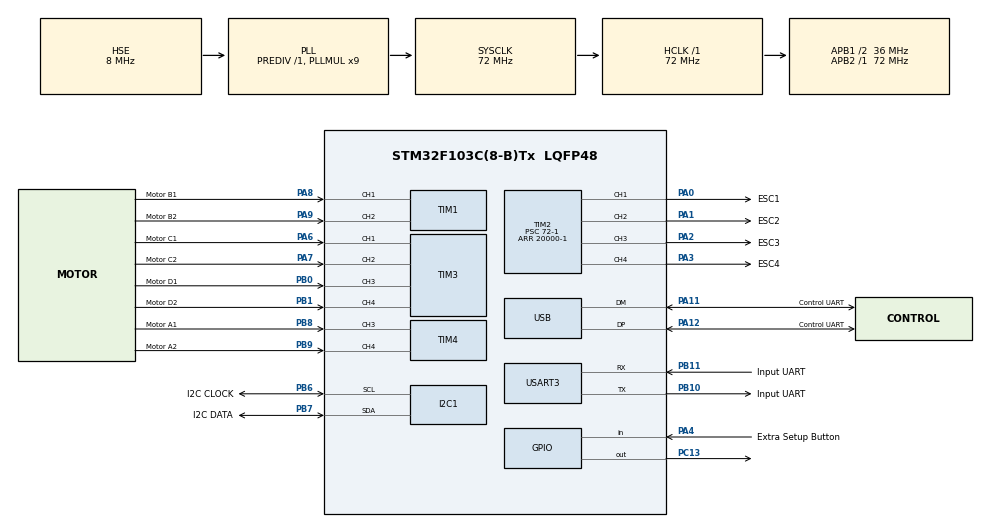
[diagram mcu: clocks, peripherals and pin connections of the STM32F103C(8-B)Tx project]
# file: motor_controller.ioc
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Mcu.Family=STM32F1
Mcu.Name=STM32F103C(8-B)Tx
Mcu.Package=LQFP48
NVIC.PriorityGroup=NVIC_PRIORITYGROUP_4
NVIC.USB_LP_CAN1_RX0_IRQn=true\:0\:0\:false\:false\:true\:false\:true\:true
PA0-WKUP.GPIO_Label=ESC1
PA0-WKUP.Signal=S_TIM2_CH1_ETR
PA1.GPIO_Label=ESC2
PA1.Signal=S_TIM2_CH2
PA11.GPIO_Label=Control UART
PA11.Mode=Device
PA11.Signal=USB_DM
PA12.GPIO_Label=Control UART
PA12.Mode=Device
PA12.Signal=USB_DP
PA13.Mode=Serial_Wire
PA13.Signal=SYS_JTMS-SWDIO
PA14.Mode=Serial_Wire
PA14.Signal=SYS_JTCK-SWCLK
PA2.GPIO_Label=ESC3
PA2.Signal=S_TIM2_CH3
PA3.GPIO_Label=ESC4
PA3.Signal=S_TIM2_CH4
PA4.GPIO_Label=Extra Setup Button
PA4.Signal=GPIO_Input
PA6.GPIO_Label=Motor C1
PA6.Signal=S_TIM3_CH1
PA7.GPIO_Label=Motor C2
PA7.Signal=S_TIM3_CH2
PA8.GPIO_Label=Motor B1
PA8.Signal=S_TIM1_CH1
PA9.GPIO_Label=Motor B2
PA9.Signal=S_TIM1_CH2
PB0.GPIO_Label=Motor D1
PB0.Signal=S_TIM3_CH3
PB1.GPIO_Label=Motor D2
PB1.Signal=S_TIM3_CH4
PB10.GPIO_Label=Input UART
PB10.Mode=Asynchronous
PB10.Signal=USART3_TX
PB11.GPIO_Label=Input UART
PB11.Mode=Asynchronous
PB11.Signal=USART3_RX
PB6.GPIO_Label=I2C CLOCK
PB6.Mode=I2C
PB6.Signal=I2C1_SCL
PB7.GPIO_Label=I2C DATA
PB7.Mode=I2C
PB7.Signal=I2C1_SDA
PB8.GPIO_Label=Motor A1
PB8.Signal=S_TIM4_CH3
PB9.GPIO_Label=Motor A2
PB9.Signal=S_TIM4_CH4
PC13-TAMPER-RTC.Signal=GPIO_Output
PD0-OSC_IN.Mode=HSE-External-Oscillator
PD0-OSC_IN.Signal=RCC_OSC_IN
PD1-OSC_OUT.Mode=HSE-External-Oscillator
PD1-OSC_OUT.Signal=RCC_OSC_OUT
ProjectManager.HeapSize=0x200
ProjectManager.StackSize=0x400
ProjectManager.TargetToolchain=STM32CubeIDE
RCC.AHBFreq_Value=72000000
RCC.APB1CLKDivider=RCC_HCLK_DIV2
RCC.APB1Freq_Value=36000000
RCC.APB1TimFreq_Value=72000000
RCC.APB2Freq_Value=72000000
RCC.APB2TimFreq_Value=72000000
RCC.HCLKFreq_Value=72000000
RCC.PLLMUL=RCC_PLL_MUL9
RCC.SYSCLKFreq_VALUE=72000000
RCC.SYSCLKSource=RCC_SYSCLKSOURCE_PLLCLK
RCC.USBFreq_Value=48000000
RCC.USBPrescaler=RCC_USBCLKSOURCE_PLL_DIV1_5
SH.S_TIM1_CH1.0=TIM1_CH1,Input_Capture1_from_TI1
SH.S_TIM1_CH2.0=TIM1_CH2,Input_Capture2_from_TI2
SH.S_TIM2_CH1_ETR.0=TIM2_CH1,PWM Generation1 CH1
SH.S_TIM2_CH2.0=TIM2_CH2,PWM Generation2 CH2
SH.S_TIM2_CH3.0=TIM2_CH3,PWM Generation3 CH3
SH.S_TIM2_CH4.0=TIM2_CH4,PWM Generation4 CH4
SH.S_TIM3_CH1.0=TIM3_CH1,Input_Capture1_from_TI1
SH.S_TIM3_CH2.0=TIM3_CH2,Input_Capture2_from_TI2
SH.S_TIM3_CH3.0=TIM3_CH3,Input_Capture3_from_TI3
SH.S_TIM3_CH4.0=TIM3_CH4,Input_Capture4_from_TI4
SH.S_TIM4_CH3.0=TIM4_CH3,Input_Capture3_from_TI3
SH.S_TIM4_CH4.0=TIM4_CH4,Input_Capture4_from_TI4
TIM1.Channel-Input_Capture1_from_TI1=TIM_CHANNEL_1
TIM1.Channel-Input_Capture2_from_TI2=TIM_CHANNEL_2
TIM2.AutoReloadPreload=TIM_AUTORELOAD_PRELOAD_DISABLE
TIM2.Channel-PWM\ Generation1\ CH1=TIM_CHANNEL_1
TIM2.Channel-PWM\ Generation2\ CH2=TIM_CHANNEL_2
TIM2.Channel-PWM\ Generation3\ CH3=TIM_CHANNEL_3
TIM2.Channel-PWM\ Generation4\ CH4=TIM_CHANNEL_4
TIM2.Period=20000-1
TIM2.Prescaler=72-1
TIM3.Channel-Input_Capture1_from_TI1=TIM_CHANNEL_1
TIM3.Channel-Input_Capture2_from_TI2=TIM_CHANNEL_2
TIM3.Channel-Input_Capture3_from_TI3=TIM_CHANNEL_3
TIM3.Channel-Input_Capture4_from_TI4=TIM_CHANNEL_4
TIM4.Channel-Input_Capture3_from_TI3=TIM_CHANNEL_3
TIM4.Channel-Input_Capture4_from_TI4=TIM_CHANNEL_4
USART3.VirtualMode=VM_ASYNC
USB_DEVICE.CLASS_NAME_FS=CDC
USB_DEVICE.PRODUCT_STRING_CDC_FS=Motor Controller
USB_DEVICE.VirtualMode=Cdc
USB_DEVICE.VirtualModeFS=Cdc_FS
VP_USB_DEVICE_VS_USB_DEVICE_CDC_FS.Mode=CDC_FS
board=custom

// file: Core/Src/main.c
/* USER CODE BEGIN Header */
/**
  ******************************************************************************
  * @file           : main.c
  * @brief          : Main program body
  ******************************************************************************
  * @attention
  *
  * Copyright (c) 2025 STMicroelectronics.
  * All rights reserved.
  *
  * This software is licensed under terms that can be found in the LICENSE file
  * in the root directory of this software component.
  * If no LICENSE file comes with this software, it is provided AS-IS.
  *
  ******************************************************************************
  */
/* USER CODE END Header */
#include "main.h"
#include "usb_device.h"

I2C_HandleTypeDef hi2c1;

TIM_HandleTypeDef htim1;
TIM_HandleTypeDef htim2;
TIM_HandleTypeDef htim3;
TIM_HandleTypeDef htim4;

UART_HandleTypeDef huart3;

void SystemClock_Config(void);
static void MX_GPIO_Init(void);
static void MX_I2C1_Init(void);
static void MX_TIM2_Init(void);
static void MX_TIM1_Init(void);
static void MX_TIM3_Init(void);
static void MX_TIM4_Init(void);
static void MX_USART3_UART_Init(void);

/* USER CODE BEGIN 0 */

TIM_HandleTypeDef htim2;
uint8_t buffer[64];

// PCA9685 I2C address (7-bit address 0x40 shifted left for HAL)
#define PCA9685_ADDRESS (0x40 << 1)  // 0x80
// Datasheet link --> https://cdn-shop.adafruit.com/datasheets/PCA9685.pdf
#define PCA9685_MODE1         0x00        // as in the datasheet page no 10/52
#define PCA9685_MODE2         0x01        // as in the datasheet page no 10/52
#define PCA9685_PRE_SCALE     0xFE        // as in the datasheet page no 13/52
#define PCA9685_LED0_ON_L     0x06        // as in the datasheet page no 10/52
#define PCA9685_ALL_LED_ON_L  0xFA        // as in the datasheet page no 10/52
#define PCA9685_MODE1_SLEEP_BIT      4    // as in the datasheet page no 14/52
#define PCA9685_MODE1_AI_BIT         5    // as in the datasheet page no 14/52
#define PCA9685_MODE1_RESTART_BIT    7    // as in the datasheet page no 14/52

// Servo constants
#define SERVO_MIN_PULSE 102.4f    // 0.5ms pulse width
#define SERVO_MAX_PULSE 511.9f    // 2.5ms pulse width
#define SERVO_MAX_ANGLE 180.0f

void PCA9685_SetBit(uint8_t Register, uint8_t Bit, uint8_t Value)
{
  uint8_t readValue;
  // Read all 8 bits and set only one bit to 0/1 and write all 8 bits back
  if (HAL_I2C_Mem_Read(&hi2c1, PCA9685_ADDRESS, Register, 1, &readValue, 1, 100) != HAL_OK) {
    return; // Handle I2C error
  }

  if (Value == 0)
    readValue &= ~(1 << Bit);
  else
    readValue |= (1 << Bit);

  HAL_I2C_Mem_Write(&hi2c1, PCA9685_ADDRESS, Register, 1, &readValue, 1, 100);
  HAL_Delay(1);
}

void PCA9685_SetPWMFrequency(uint16_t frequency)
{
  uint8_t prescale;

  if(frequency >= 1526) {
    prescale = 0x03;
  }
  else if(frequency <= 24) {
    prescale = 0xFF;
  }
  else {
    // Calculate prescale value: prescale = round(osc_clock / (4096 * freq)) - 1
    // Internal 25 MHz oscillator as in the datasheet page no 1/52
    prescale = (uint8_t)(25000000.0f / (4096.0f * frequency) - 1.0f + 0.5f);
    if (prescale < 3) prescale = 3;
    if (prescale > 255) prescale = 255;
  }

  // Put PCA9685 to sleep before changing prescaler
  PCA9685_SetBit(PCA9685_MODE1, PCA9685_MODE1_SLEEP_BIT, 1);
  HAL_Delay(1); // Wait for sleep to take effect

  // Set prescaler
  HAL_I2C_Mem_Write(&hi2c1, PCA9685_ADDRESS, PCA9685_PRE_SCALE, 1, &prescale, 1, 100);

  // Wake up PCA9685
  PCA9685_SetBit(PCA9685_MODE1, PCA9685_MODE1_SLEEP_BIT, 0);
  HAL_Delay(1); // Wait for oscillator to stabilize

  // Restart PWM
  PCA9685_SetBit(PCA9685_MODE1, PCA9685_MODE1_RESTART_BIT, 1);
  HAL_Delay(1);
}

void PCA9685_Init(uint16_t frequency)
{
  // Reset PCA9685
  uint8_t mode1 = 0x00;
  HAL_I2C_Mem_Write(&hi2c1, PCA9685_ADDRESS, PCA9685_MODE1, 1, &mode1, 1, 100);
  HAL_Delay(1);

  // Set PWM frequency
  PCA9685_SetPWMFrequency(frequency); // 50 Hz for servo

  // Enable auto-increment
  PCA9685_SetBit(PCA9685_MODE1, PCA9685_MODE1_AI_BIT, 1);

  // Configure MODE2 for totem pole output (not open-drain)
  uint8_t mode2 = 0x04; // OUTDRV = 1 for totem pole output
  HAL_I2C_Mem_Write(&hi2c1, PCA9685_ADDRESS, PCA9685_MODE2, 1, &mode2, 1, 100);
  HAL_Delay(1);
}

void PCA9685_SetPWM(uint8_t Channel, uint16_t OnTime, uint16_t OffTime)
{
  if (Channel > 15) return; // PCA9685 has 16 channels (0-15)

  uint8_t registerAddress;
  uint8_t pwm[4];

  registerAddress = PCA9685_LED0_ON_L + (4 * Channel);

  // See example 1 in the datasheet page no 18/52
  pwm[0] = OnTime & 0xFF;        // ON_L
  pwm[1] = (OnTime >> 8) & 0x0F; // ON_H (only lower 4 bits)
  pwm[2] = OffTime & 0xFF;       // OFF_L
  pwm[3] = (OffTime >> 8) & 0x0F;// OFF_H (only lower 4 bits)

  HAL_I2C_Mem_Write(&hi2c1, PCA9685_ADDRESS, registerAddress, 1, pwm, 4, 100);
}

void PCA9685_SetServoAngle(uint8_t Channel, float Angle)
{
  if (Channel > 15) return; // PCA9685 has 16 channels (0-15)
  if (Angle < 0) Angle = 0;
  if (Angle > SERVO_MAX_ANGLE) Angle = SERVO_MAX_ANGLE;

  float Value;
  // 50 Hz servo then 4095 Value --> 20 milliseconds
  // 0 degree --> 0.5 ms(102.4 Value) and 180 degree --> 2.5 ms(511.9 Value)
  Value = (Angle * (SERVO_MAX_PULSE - SERVO_MIN_PULSE) / SERVO_MAX_ANGLE) + SERVO_MIN_PULSE;
  PCA9685_SetPWM(Channel, 0, (uint16_t)Value);
}

void PCA9685_SetAllPWM(uint16_t OnTime, uint16_t OffTime)
{
  uint8_t pwm[4];

  // See datasheet for ALL_LED registers
  pwm[0] = OnTime & 0xFF;        // ALL_LED_ON_L
  pwm[1] = (OnTime >> 8) & 0x0F; // ALL_LED_ON_H (only lower 4 bits)
  pwm[2] = OffTime & 0xFF;       // ALL_LED_OFF_L
  pwm[3] = (OffTime >> 8) & 0x0F;// ALL_LED_OFF_H (only lower 4 bits)

  HAL_I2C_Mem_Write(&hi2c1, PCA9685_ADDRESS, PCA9685_ALL_LED_ON_L, 1, pwm, 4, 100);
}

void PCA9685_SetAllServoAngle(float Angle)
{
  if (Angle < 0) Angle = 0;
  if (Angle > SERVO_MAX_ANGLE) Angle = SERVO_MAX_ANGLE;

  float Value = (Angle * (SERVO_MAX_PULSE - SERVO_MIN_PULSE) / SERVO_MAX_ANGLE) + SERVO_MIN_PULSE;
  PCA9685_SetAllPWM(0, (uint16_t)Value);
}

uint16_t MapPowerToPulse(uint8_t power) {
    if (power > 100) power = 100;
    return 1000 + (power * 10);
}

void SendFeedback(const char* message) {
    CDC_Transmit_FS((uint8_t*)message, strlen(message));
}

  // Single ESC Control
  void Single_Esc_Control(uint8_t* channel, uint16_t* value) {
      uint16_t pwmValue = MapPowerToPulse(*value);

      switch(*channel) {
          case 1: TIM2->CCR1 = pwmValue; break;
          case 2: TIM2->CCR2 = pwmValue; break;
          case 3: TIM2->CCR3 = pwmValue; break;
          case 4: TIM2->CCR4 = pwmValue; break;
          default: return;
      }

      char msg[64];
      sprintf(msg, "ESC %d set to %d\r\n", *channel, pwmValue);
      SendFeedback(msg);
  }

  // Batch ESC Control
  void Batch_Esc_Control(uint8_t* n, uint16_t* values) {
      for(uint8_t i = 0; i < *n; i++) {
          uint16_t pwmValue = MapPowerToPulse(values[i]);
          switch(i+1) {
              case 1: TIM2->CCR1 = pwmValue; break;
              case 2: TIM2->CCR2 = pwmValue; break;
              case 3: TIM2->CCR3 = pwmValue; break;
              case 4: TIM2->CCR4 = pwmValue; break;
              default: continue;
          }

          char msg[64];
          sprintf(msg, "ESC %d set to %d\r\n", i+1, pwmValue);
          SendFeedback(msg);
      }
  }

  // Burst ESC Control
  void Burst_Esc_Control(uint8_t* n, uint16_t* value) {
      uint16_t pwmValue = MapPowerToPulse(*value);
      for(uint8_t i = 0; i < *n; i++) {
          switch(i+1) {
              case 1: TIM2->CCR1 = pwmValue; break;
              case 2: TIM2->CCR2 = pwmValue; break;
              case 3: TIM2->CCR3 = pwmValue; break;
              case 4: TIM2->CCR4 = pwmValue; break;
              default: continue;
          }

          char msg[64];
          sprintf(msg, "ESC %d burst set to %d\r\n", i+1, pwmValue);
          SendFeedback(msg);
      }
  }

  // Command handler
  void Control_Command_Handler(uint8_t* Buf, uint32_t Len)
  {
      uint8_t escValue, escChannel, n;
      uint16_t valueArray[16];

      switch(Buf[1]){
          case 0x00: // Single ESC Control
              escValue = Buf[2];
              escChannel = Buf[3];
              {
                  uint16_t pwmValue = escValue;
                  Single_Esc_Control(&escChannel, &pwmValue);
              }
              break;

          case 0x02: // Batch ESC Control
              for(uint8_t i=0; i<4; i++) {
                  valueArray[i] = Buf[2+i];
              }
              n = 4;
              Batch_Esc_Control(&n, valueArray);
              break;

          case 0x04: // Burst ESC Control
              escValue = Buf[2];
              {
                  uint16_t pwmValue = escValue;
                  n = 4;
                  Burst_Esc_Control(&n, &pwmValue);
              }
              break;

          default:
              SendFeedback("Invalid Command\r\n");
              break;
      }
  }

/* USER CODE END 0 */

int main(void)
{

  /* MCU Configuration--------------------------------------------------------*/

  /* Reset of all peripherals, Initializes the Flash interface and the Systick. */
  HAL_Init();

  /* Configure the system clock */
  SystemClock_Config();

  /* Initialize all configured peripherals */
  MX_GPIO_Init();
  MX_USB_DEVICE_Init();
  MX_I2C1_Init();
  MX_TIM2_Init();
  MX_TIM1_Init();
  MX_TIM3_Init();
  MX_TIM4_Init();
  MX_USART3_UART_Init();
  /* USER CODE BEGIN 2 */
  HAL_TIM_PWM_Start(&htim2, TIM_CHANNEL_1);
  HAL_TIM_PWM_Start(&htim2, TIM_CHANNEL_2);
  HAL_TIM_PWM_Start(&htim2, TIM_CHANNEL_3);
  HAL_TIM_PWM_Start(&htim2, TIM_CHANNEL_4);

  TIM2->CCR1=1500;
  TIM2->CCR2=1500;
  TIM2->CCR3=1500;
  TIM2->CCR4=1500;
  PCA9685_Init(50);
  HAL_Delay(2000);

  /* USER CODE END 2 */

  /* Infinite loop */
  /* USER CODE BEGIN WHILE */
  while (1)
  {
	  PCA9685_SetAllServoAngle(0);
	      HAL_Delay(1000);  // Wait 1 second

	      // Move all servos to 45°
	      PCA9685_SetAllServoAngle(45);
	      HAL_Delay(1000);

	      // Move all servos to 90°
	      PCA9685_SetAllServoAngle(90);
	      HAL_Delay(1000);

	      // Move all servos to 135°
	      PCA9685_SetAllServoAngle(135);
	      HAL_Delay(1000);

	      // Move all servos to 180°
	      PCA9685_SetAllServoAngle(180);
	      HAL_Delay(1000);

	      // Move back to center (90°)
	      PCA9685_SetAllServoAngle(90);
	      HAL_Delay(1000);

    /* USER CODE END WHILE */

  }
}

void SystemClock_Config(void)
{
  RCC_OscInitTypeDef RCC_OscInitStruct = {0};
  RCC_ClkInitTypeDef RCC_ClkInitStruct = {0};
  RCC_PeriphCLKInitTypeDef PeriphClkInit = {0};

  /** Initializes the RCC Oscillators according to the specified parameters
  * in the RCC_OscInitTypeDef structure.
  */
  RCC_OscInitStruct.OscillatorType = RCC_OSCILLATORTYPE_HSE;
  RCC_OscInitStruct.HSEState = RCC_HSE_ON;
  RCC_OscInitStruct.HSEPredivValue = RCC_HSE_PREDIV_DIV1;
  RCC_OscInitStruct.HSIState = RCC_HSI_ON;
  RCC_OscInitStruct.PLL.PLLState = RCC_PLL_ON;
  RCC_OscInitStruct.PLL.PLLSource = RCC_PLLSOURCE_HSE;
  RCC_OscInitStruct.PLL.PLLMUL = RCC_PLL_MUL9;
  if (HAL_RCC_OscConfig(&RCC_OscInitStruct) != HAL_OK)
  {
    Error_Handler();
  }

  /** Initializes the CPU, AHB and APB buses clocks
  */
  RCC_ClkInitStruct.ClockType = RCC_CLOCKTYPE_HCLK|RCC_CLOCKTYPE_SYSCLK
                              |RCC_CLOCKTYPE_PCLK1|RCC_CLOCKTYPE_PCLK2;
  RCC_ClkInitStruct.SYSCLKSource = RCC_SYSCLKSOURCE_PLLCLK;
  RCC_ClkInitStruct.AHBCLKDivider = RCC_SYSCLK_DIV1;
  RCC_ClkInitStruct.APB1CLKDivider = RCC_HCLK_DIV2;
  RCC_ClkInitStruct.APB2CLKDivider = RCC_HCLK_DIV1;

  if (HAL_RCC_ClockConfig(&RCC_ClkInitStruct, FLASH_LATENCY_2) != HAL_OK)
  {
    Error_Handler();
  }
  PeriphClkInit.PeriphClockSelection = RCC_PERIPHCLK_USB;
  PeriphClkInit.UsbClockSelection = RCC_USBCLKSOURCE_PLL_DIV1_5;
  if (HAL_RCCEx_PeriphCLKConfig(&PeriphClkInit) != HAL_OK)
  {
    Error_Handler();
  }
}

static void MX_I2C1_Init(void)
{

  hi2c1.Instance = I2C1;
  hi2c1.Init.ClockSpeed = 100000;
  hi2c1.Init.DutyCycle = I2C_DUTYCYCLE_2;
  hi2c1.Init.OwnAddress1 = 0;
  hi2c1.Init.AddressingMode = I2C_ADDRESSINGMODE_7BIT;
  hi2c1.Init.DualAddressMode = I2C_DUALADDRESS_DISABLE;
  hi2c1.Init.OwnAddress2 = 0;
  hi2c1.Init.GeneralCallMode = I2C_GENERALCALL_DISABLE;
  hi2c1.Init.NoStretchMode = I2C_NOSTRETCH_DISABLE;
  if (HAL_I2C_Init(&hi2c1) != HAL_OK)
  {
    Error_Handler();
  }

}

static void MX_TIM1_Init(void)
{

  TIM_MasterConfigTypeDef sMasterConfig = {0};
  TIM_IC_InitTypeDef sConfigIC = {0};

  htim1.Instance = TIM1;
  htim1.Init.Prescaler = 0;
  htim1.Init.CounterMode = TIM_COUNTERMODE_UP;
  htim1.Init.Period = 65535;
  htim1.Init.ClockDivision = TIM_CLOCKDIVISION_DIV1;
  htim1.Init.RepetitionCounter = 0;
  htim1.Init.AutoReloadPreload = TIM_AUTORELOAD_PRELOAD_DISABLE;
  if (HAL_TIM_IC_Init(&htim1) != HAL_OK)
  {
    Error_Handler();
  }
  sMasterConfig.MasterOutputTrigger = TIM_TRGO_RESET;
  sMasterConfig.MasterSlaveMode = TIM_MASTERSLAVEMODE_DISABLE;
  if (HAL_TIMEx_MasterConfigSynchronization(&htim1, &sMasterConfig) != HAL_OK)
  {
    Error_Handler();
  }
  sConfigIC.ICPolarity = TIM_INPUTCHANNELPOLARITY_RISING;
  sConfigIC.ICSelection = TIM_ICSELECTION_DIRECTTI;
  sConfigIC.ICPrescaler = TIM_ICPSC_DIV1;
  sConfigIC.ICFilter = 0;
  if (HAL_TIM_IC_ConfigChannel(&htim1, &sConfigIC, TIM_CHANNEL_1) != HAL_OK)
  {
    Error_Handler();
  }
  if (HAL_TIM_IC_ConfigChannel(&htim1, &sConfigIC, TIM_CHANNEL_2) != HAL_OK)
  {
    Error_Handler();
  }

}

static void MX_TIM2_Init(void)
{

  TIM_MasterConfigTypeDef sMasterConfig = {0};
  TIM_OC_InitTypeDef sConfigOC = {0};

  htim2.Instance = TIM2;
  htim2.Init.Prescaler = 72-1;
  htim2.Init.CounterMode = TIM_COUNTERMODE_UP;
  htim2.Init.Period = 20000-1;
  htim2.Init.ClockDivision = TIM_CLOCKDIVISION_DIV1;
  htim2.Init.AutoReloadPreload = TIM_AUTORELOAD_PRELOAD_DISABLE;
  if (HAL_TIM_PWM_Init(&htim2) != HAL_OK)
  {
    Error_Handler();
  }
  sMasterConfig.MasterOutputTrigger = TIM_TRGO_RESET;
  sMasterConfig.MasterSlaveMode = TIM_MASTERSLAVEMODE_DISABLE;
  if (HAL_TIMEx_MasterConfigSynchronization(&htim2, &sMasterConfig) != HAL_OK)
  {
    Error_Handler();
  }
  sConfigOC.OCMode = TIM_OCMODE_PWM1;
  sConfigOC.Pulse = 0;
  sConfigOC.OCPolarity = TIM_OCPOLARITY_HIGH;
  sConfigOC.OCFastMode = TIM_OCFAST_DISABLE;
  if (HAL_TIM_PWM_ConfigChannel(&htim2, &sConfigOC, TIM_CHANNEL_1) != HAL_OK)
  {
    Error_Handler();
  }
  if (HAL_TIM_PWM_ConfigChannel(&htim2, &sConfigOC, TIM_CHANNEL_2) != HAL_OK)
  {
    Error_Handler();
  }
  if (HAL_TIM_PWM_ConfigChannel(&htim2, &sConfigOC, TIM_CHANNEL_3) != HAL_OK)
  {
    Error_Handler();
  }
  if (HAL_TIM_PWM_ConfigChannel(&htim2, &sConfigOC, TIM_CHANNEL_4) != HAL_OK)
  {
    Error_Handler();
  }
  HAL_TIM_MspPostInit(&htim2);

}

static void MX_TIM3_Init(void)
{

  TIM_MasterConfigTypeDef sMasterConfig = {0};
  TIM_IC_InitTypeDef sConfigIC = {0};

  htim3.Instance = TIM3;
  htim3.Init.Prescaler = 0;
  htim3.Init.CounterMode = TIM_COUNTERMODE_UP;
  htim3.Init.Period = 65535;
  htim3.Init.ClockDivision = TIM_CLOCKDIVISION_DIV1;
  htim3.Init.AutoReloadPreload = TIM_AUTORELOAD_PRELOAD_DISABLE;
  if (HAL_TIM_IC_Init(&htim3) != HAL_OK)
  {
    Error_Handler();
  }
  sMasterConfig.MasterOutputTrigger = TIM_TRGO_RESET;
  sMasterConfig.MasterSlaveMode = TIM_MASTERSLAVEMODE_DISABLE;
  if (HAL_TIMEx_MasterConfigSynchronization(&htim3, &sMasterConfig) != HAL_OK)
  {
    Error_Handler();
  }
  sConfigIC.ICPolarity = TIM_INPUTCHANNELPOLARITY_RISING;
  sConfigIC.ICSelection = TIM_ICSELECTION_DIRECTTI;
  sConfigIC.ICPrescaler = TIM_ICPSC_DIV1;
  sConfigIC.ICFilter = 0;
  if (HAL_TIM_IC_ConfigChannel(&htim3, &sConfigIC, TIM_CHANNEL_1) != HAL_OK)
  {
    Error_Handler();
  }
  if (HAL_TIM_IC_ConfigChannel(&htim3, &sConfigIC, TIM_CHANNEL_2) != HAL_OK)
  {
    Error_Handler();
  }
  if (HAL_TIM_IC_ConfigChannel(&htim3, &sConfigIC, TIM_CHANNEL_3) != HAL_OK)
  {
    Error_Handler();
  }
  if (HAL_TIM_IC_ConfigChannel(&htim3, &sConfigIC, TIM_CHANNEL_4) != HAL_OK)
  {
    Error_Handler();
  }

}

static void MX_TIM4_Init(void)
{

  TIM_MasterConfigTypeDef sMasterConfig = {0};
  TIM_IC_InitTypeDef sConfigIC = {0};

  htim4.Instance = TIM4;
  htim4.Init.Prescaler = 0;
  htim4.Init.CounterMode = TIM_COUNTERMODE_UP;
  htim4.Init.Period = 65535;
  htim4.Init.ClockDivision = TIM_CLOCKDIVISION_DIV1;
  htim4.Init.AutoReloadPreload = TIM_AUTORELOAD_PRELOAD_DISABLE;
  if (HAL_TIM_IC_Init(&htim4) != HAL_OK)
  {
    Error_Handler();
  }
  sMasterConfig.MasterOutputTrigger = TIM_TRGO_RESET;
  sMasterConfig.MasterSlaveMode = TIM_MASTERSLAVEMODE_DISABLE;
  if (HAL_TIMEx_MasterConfigSynchronization(&htim4, &sMasterConfig) != HAL_OK)
  {
    Error_Handler();
  }
  sConfigIC.ICPolarity = TIM_INPUTCHANNELPOLARITY_RISING;
  sConfigIC.ICSelection = TIM_ICSELECTION_DIRECTTI;
  sConfigIC.ICPrescaler = TIM_ICPSC_DIV1;
  sConfigIC.ICFilter = 0;
  if (HAL_TIM_IC_ConfigChannel(&htim4, &sConfigIC, TIM_CHANNEL_3) != HAL_OK)
  {
    Error_Handler();
  }
  if (HAL_TIM_IC_ConfigChannel(&htim4, &sConfigIC, TIM_CHANNEL_4) != HAL_OK)
  {
    Error_Handler();
  }

}

static void MX_USART3_UART_Init(void)
{

  huart3.Instance = USART3;
  huart3.Init.BaudRate = 115200;
  huart3.Init.WordLength = UART_WORDLENGTH_8B;
  huart3.Init.StopBits = UART_STOPBITS_1;
  huart3.Init.Parity = UART_PARITY_NONE;
  huart3.Init.Mode = UART_MODE_TX_RX;
  huart3.Init.HwFlowCtl = UART_HWCONTROL_NONE;
  huart3.Init.OverSampling = UART_OVERSAMPLING_16;
  if (HAL_UART_Init(&huart3) != HAL_OK)
  {
    Error_Handler();
  }

}

static void MX_GPIO_Init(void)
{
  GPIO_InitTypeDef GPIO_InitStruct = {0};

  /* GPIO Ports Clock Enable */
  __HAL_RCC_GPIOC_CLK_ENABLE();
  __HAL_RCC_GPIOD_CLK_ENABLE();
  __HAL_RCC_GPIOA_CLK_ENABLE();
  __HAL_RCC_GPIOB_CLK_ENABLE();

  /*Configure GPIO pin Output Level */
  HAL_GPIO_WritePin(GPIOC, GPIO_PIN_13, GPIO_PIN_RESET);

  /*Configure GPIO pin : PC13 */
  GPIO_InitStruct.Pin = GPIO_PIN_13;
  GPIO_InitStruct.Mode = GPIO_MODE_OUTPUT_PP;
  GPIO_InitStruct.Pull = GPIO_NOPULL;
  GPIO_InitStruct.Speed = GPIO_SPEED_FREQ_LOW;
  HAL_GPIO_Init(GPIOC, &GPIO_InitStruct);

  /*Configure GPIO pin : Extra_Setup_Button_Pin */
  GPIO_InitStruct.Pin = Extra_Setup_Button_Pin;
  GPIO_InitStruct.Mode = GPIO_MODE_INPUT;
  GPIO_InitStruct.Pull = GPIO_NOPULL;
  HAL_GPIO_Init(Extra_Setup_Button_GPIO_Port, &GPIO_InitStruct);

}

void Error_Handler(void)
{
  __disable_irq();
  while (1)
  {
  }
}
